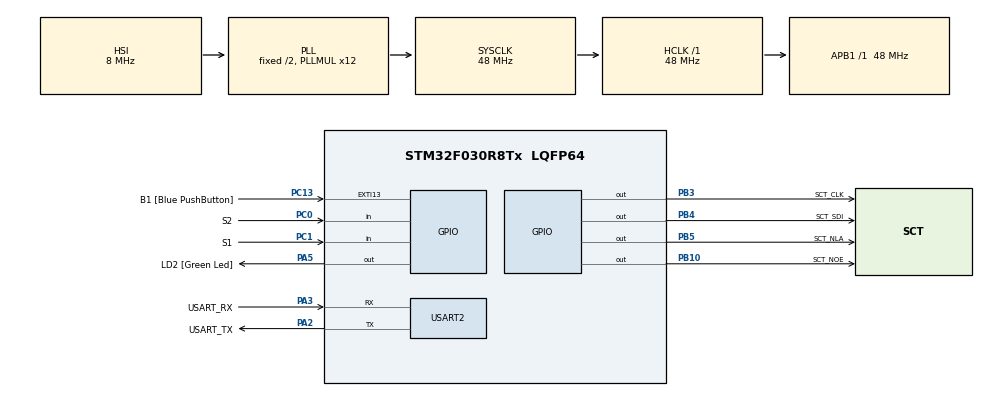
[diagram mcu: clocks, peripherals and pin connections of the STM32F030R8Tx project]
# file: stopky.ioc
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Mcu.Family=STM32F0
Mcu.Name=STM32F030R8Tx
Mcu.Package=LQFP64
PA13.GPIO_Label=TMS
PA13.Mode=Serial_Wire
PA13.Signal=SYS_SWDIO
PA14.GPIO_Label=TCK
PA14.Mode=Serial_Wire
PA14.Signal=SYS_SWCLK
PA2.GPIO_Label=USART_TX
PA2.GPIO_Mode=GPIO_MODE_AF_PP
PA2.GPIO_PuPd=GPIO_NOPULL
PA2.GPIO_Speed=GPIO_SPEED_FREQ_LOW
PA2.Mode=Asynchronous
PA2.Signal=USART2_TX
PA3.GPIO_Label=USART_RX
PA3.GPIO_Mode=GPIO_MODE_AF_PP
PA3.GPIO_PuPd=GPIO_NOPULL
PA3.GPIO_Speed=GPIO_SPEED_FREQ_LOW
PA3.Mode=Asynchronous
PA3.Signal=USART2_RX
PA5.GPIO_Label=LD2 [Green Led]
PA5.GPIO_Mode=GPIO_MODE_OUTPUT_PP
PA5.GPIO_PuPd=GPIO_NOPULL
PA5.GPIO_Speed=GPIO_SPEED_FREQ_LOW
PA5.Signal=GPIO_Output
PB10.GPIO_Label=SCT_NOE
PB10.Signal=GPIO_Output
PB3.GPIO_Label=SCT_CLK
PB3.Signal=GPIO_Output
PB4.GPIO_Label=SCT_SDI
PB4.Signal=GPIO_Output
PB5.GPIO_Label=SCT_NLA
PB5.Signal=GPIO_Output
PC0.GPIO_Label=S2
PC0.GPIO_PuPd=GPIO_PULLUP
PC0.Signal=GPIO_Input
PC1.GPIO_Label=S1
PC1.GPIO_PuPd=GPIO_PULLUP
PC1.Signal=GPIO_Input
PC13.GPIO_Label=B1 [Blue PushButton]
PC13.GPIO_ModeDefaultEXTI=GPIO_MODE_IT_FALLING
PC13.Signal=GPXTI13
PC14-OSC32_IN.Mode=LSE-External-Oscillator
PC14-OSC32_IN.Signal=RCC_OSC32_IN
PC15-OSC32_OUT.Mode=LSE-External-Oscillator
PC15-OSC32_OUT.Signal=RCC_OSC32_OUT
PF0-OSC_IN.Mode=HSE-External-Clock-Source
PF0-OSC_IN.Signal=RCC_OSC_IN
PF1-OSC_OUT.Signal=RCC_OSC_OUT
ProjectManager.HeapSize=0x200
ProjectManager.StackSize=0x400
ProjectManager.TargetToolchain=STM32CubeIDE
RCC.AHBFreq_Value=48000000
RCC.APB1Freq_Value=48000000
RCC.APB1TimFreq_Value=48000000
RCC.HCLKFreq_Value=48000000
RCC.PLLMUL=RCC_PLL_MUL12
RCC.SYSCLKFreq_VALUE=48000000
RCC.SYSCLKSource=RCC_SYSCLKSOURCE_PLLCLK
USART2.VirtualMode-Asynchronous=VM_ASYNC
board=NUCLEO-F030R8

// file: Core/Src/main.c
/* USER CODE BEGIN Header */
/**
  ******************************************************************************
  * @file           : main.c
  * @brief          : Main program body
  ******************************************************************************
  * @attention
  *
  * Copyright (c) 2022 STMicroelectronics.
  * All rights reserved.
  *
  * This software is licensed under terms that can be found in the LICENSE file
  * in the root directory of this software component.
  * If no LICENSE file comes with this software, it is provided AS-IS.
  *
  ******************************************************************************
  */
/* USER CODE END Header */
#include "main.h"

/* USER CODE BEGIN Includes */
#include "sct.h"
/* USER CODE END Includes */

UART_HandleTypeDef huart2;

void SystemClock_Config(void);
static void MX_GPIO_Init(void);
static void MX_USART2_UART_Init(void);

int main(void)
{

  /* MCU Configuration--------------------------------------------------------*/

  /* Reset of all peripherals, Initializes the Flash interface and the Systick. */
  HAL_Init();

  /* Configure the system clock */
  SystemClock_Config();

  /* Initialize all configured peripherals */
  MX_GPIO_Init();
  MX_USART2_UART_Init();

  /* Infinite loop */
  while (1)
  {

    /* USER CODE BEGIN 3 */
	  static enum {SHOW_START,SHOW_STOP, SHOW_RESET, SHOW_HIDE, SHOW_SHOW} state = SHOW_RESET;
	  static uint16_t startcas = 0;
	  static uint32_t tick;
	  static uint16_t cas;

	  if(HAL_GPIO_ReadPin(S1_GPIO_Port,S1_Pin)==0)
	  {

		  HAL_Delay(200);
		  if (state == SHOW_START)
		  {
			  cas = startcas;
			  state = SHOW_STOP;
		  }
		  else if(state == SHOW_STOP)
		  {
			  state = SHOW_RESET;
		  }
		  else if (state == SHOW_RESET)
		  {
			  state = SHOW_START;
		  }
		  else
		  {
			  state = SHOW_START;
		  }
	  }
	  else if(HAL_GPIO_ReadPin(S2_GPIO_Port,S2_Pin)==0)
	  {
		  HAL_Delay(200);
		  if(state == SHOW_STOP)
		  {
			  state = SHOW_HIDE;
		  }
		  else if(state == SHOW_HIDE)
		  {
			  cas = startcas;
			  state = SHOW_SHOW;
		  }
		  else
		  {
			  cas = startcas;
			  state = SHOW_SHOW;
		  }
	  }

		if (tick+100 <= HAL_GetTick())
		{
			startcas++;
			tick = HAL_GetTick();
		}

	  if(state == SHOW_START)
	  {
		  sct_value(startcas,0);

	  }

	  if(state == SHOW_STOP)
	  {
		  sct_value(cas,0);

	  }

	  if(state == SHOW_RESET)
	  {
		  startcas = 0;
	  }

	  if (startcas == 600)
	  {
		  startcas = 0;
	  }

	  if (state == SHOW_HIDE)
	  {
		  sct_value(cas,0);
	  }

	  if (state == SHOW_SHOW)
	  {
		  sct_value(startcas,0);
	  }

  }
  /* USER CODE END 3 */
}

void SystemClock_Config(void)
{
  RCC_OscInitTypeDef RCC_OscInitStruct = {0};
  RCC_ClkInitTypeDef RCC_ClkInitStruct = {0};

  /** Initializes the RCC Oscillators according to the specified parameters
  * in the RCC_OscInitTypeDef structure.
  */
  RCC_OscInitStruct.OscillatorType = RCC_OSCILLATORTYPE_HSI;
  RCC_OscInitStruct.HSIState = RCC_HSI_ON;
  RCC_OscInitStruct.HSICalibrationValue = RCC_HSICALIBRATION_DEFAULT;
  RCC_OscInitStruct.PLL.PLLState = RCC_PLL_ON;
  RCC_OscInitStruct.PLL.PLLSource = RCC_PLLSOURCE_HSI;
  RCC_OscInitStruct.PLL.PLLMUL = RCC_PLL_MUL12;
  RCC_OscInitStruct.PLL.PREDIV = RCC_PREDIV_DIV1;
  if (HAL_RCC_OscConfig(&RCC_OscInitStruct) != HAL_OK)
  {
    Error_Handler();
  }
  /** Initializes the CPU, AHB and APB buses clocks
  */
  RCC_ClkInitStruct.ClockType = RCC_CLOCKTYPE_HCLK|RCC_CLOCKTYPE_SYSCLK
                              |RCC_CLOCKTYPE_PCLK1;
  RCC_ClkInitStruct.SYSCLKSource = RCC_SYSCLKSOURCE_PLLCLK;
  RCC_ClkInitStruct.AHBCLKDivider = RCC_SYSCLK_DIV1;
  RCC_ClkInitStruct.APB1CLKDivider = RCC_HCLK_DIV1;

  if (HAL_RCC_ClockConfig(&RCC_ClkInitStruct, FLASH_LATENCY_1) != HAL_OK)
  {
    Error_Handler();
  }
}

static void MX_USART2_UART_Init(void)
{

  huart2.Instance = USART2;
  huart2.Init.BaudRate = 38400;
  huart2.Init.WordLength = UART_WORDLENGTH_8B;
  huart2.Init.StopBits = UART_STOPBITS_1;
  huart2.Init.Parity = UART_PARITY_NONE;
  huart2.Init.Mode = UART_MODE_TX_RX;
  huart2.Init.HwFlowCtl = UART_HWCONTROL_NONE;
  huart2.Init.OverSampling = UART_OVERSAMPLING_16;
  huart2.Init.OneBitSampling = UART_ONE_BIT_SAMPLE_DISABLE;
  huart2.AdvancedInit.AdvFeatureInit = UART_ADVFEATURE_NO_INIT;
  if (HAL_UART_Init(&huart2) != HAL_OK)
  {
    Error_Handler();
  }

}

static void MX_GPIO_Init(void)
{
  GPIO_InitTypeDef GPIO_InitStruct = {0};

  /* GPIO Ports Clock Enable */
  __HAL_RCC_GPIOC_CLK_ENABLE();
  __HAL_RCC_GPIOF_CLK_ENABLE();
  __HAL_RCC_GPIOA_CLK_ENABLE();
  __HAL_RCC_GPIOB_CLK_ENABLE();

  /*Configure GPIO pin Output Level */
  HAL_GPIO_WritePin(GPIOA, GPIO_PIN_5, GPIO_PIN_RESET);

  /*Configure GPIO pin Output Level */
  HAL_GPIO_WritePin(GPIOB, GPIO_PIN_10|GPIO_PIN_3|GPIO_PIN_4|GPIO_PIN_5, GPIO_PIN_RESET);

  /*Configure GPIO pin : PC13 */
  GPIO_InitStruct.Pin = GPIO_PIN_13;
  GPIO_InitStruct.Mode = GPIO_MODE_IT_FALLING;
  GPIO_InitStruct.Pull = GPIO_NOPULL;
  HAL_GPIO_Init(GPIOC, &GPIO_InitStruct);

  /*Configure GPIO pins : PC0 PC1 */
  GPIO_InitStruct.Pin = GPIO_PIN_0|GPIO_PIN_1;
  GPIO_InitStruct.Mode = GPIO_MODE_INPUT;
  GPIO_InitStruct.Pull = GPIO_PULLUP;
  HAL_GPIO_Init(GPIOC, &GPIO_InitStruct);

  /*Configure GPIO pin : PA5 */
  GPIO_InitStruct.Pin = GPIO_PIN_5;
  GPIO_InitStruct.Mode = GPIO_MODE_OUTPUT_PP;
  GPIO_InitStruct.Pull = GPIO_NOPULL;
  GPIO_InitStruct.Speed = GPIO_SPEED_FREQ_LOW;
  HAL_GPIO_Init(GPIOA, &GPIO_InitStruct);

  /*Configure GPIO pins : PB10 PB3 PB4 PB5 */
  GPIO_InitStruct.Pin = GPIO_PIN_10|GPIO_PIN_3|GPIO_PIN_4|GPIO_PIN_5;
  GPIO_InitStruct.Mode = GPIO_MODE_OUTPUT_PP;
  GPIO_InitStruct.Pull = GPIO_NOPULL;
  GPIO_InitStruct.Speed = GPIO_SPEED_FREQ_LOW;
  HAL_GPIO_Init(GPIOB, &GPIO_InitStruct);

}

void Error_Handler(void)
{
  __disable_irq();
  while (1)
  {
  }
}
